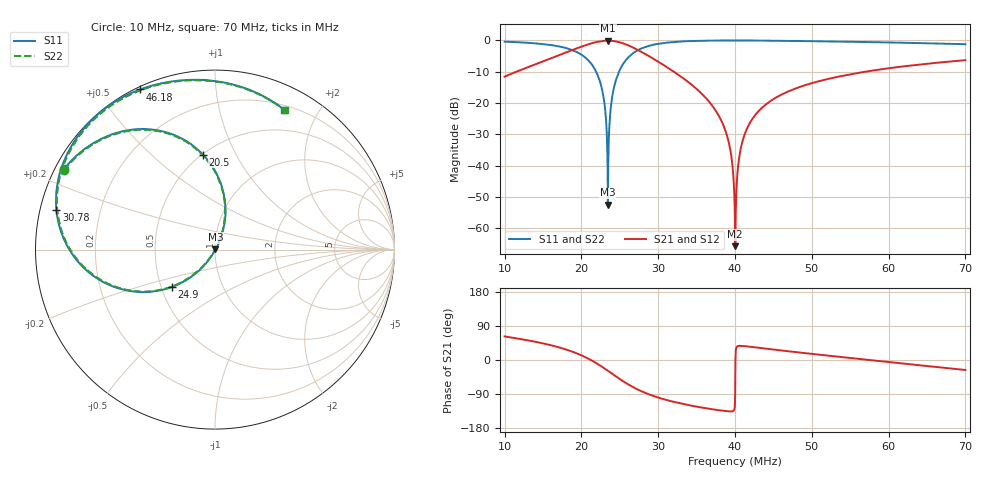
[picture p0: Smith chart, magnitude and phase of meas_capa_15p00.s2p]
#  HZ  S  RI  R  50.00
! Rohde & Schwarz ZVT8 8Ports - Version 4.11 - 1300.0000k08 SN: 100242
! Date: 2026-07-13 13:46:20
! Measurements: S11 S21 S12 S22
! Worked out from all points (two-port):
!   3001 points, 10 MHz to 70 MHz, reference 50 ohm
!   highest |S21| = -0.09 dB at 23.46 MHz (marker M1); lowest = -65.7 dB at 40.04 MHz (marker M2)
!   |S21| within 3 dB of the highest: 18.81 MHz to 27.37 MHz (8.564 MHz wide, 37.1 % of centre)
!   lowest |S11| = -52.4 dB at 23.44 MHz (marker M3), VSWR 1.00, Z = 50.2 + j0.0984 ohm
!   |S11| at or under -10 dB: 21.92 MHz to 24.9 MHz (2.978 MHz wide, 12.7 % of centre)
!   |S22| runs from -53.4 to -0.1 dB; largest |S21 - S12| = 0.0017
!   S11 on the Smith chart (normalised r, x): 10 MHz: 0.03, +0.25; 20.5 MHz: 0.50, +0.75; 24.9 MHz: 0.57, -0.26; 30.78 MHz: 0.05, +0.12; 46.18 MHz: 0.01, +0.64; 70 MHz: 0.25, +1.58
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1e7  -0.8418 0.4463  0.1234 0.2329  0.1237 0.2327  -0.8392 0.4433
1.662e7  -0.4794 0.666  0.4471 0.3229  0.4475 0.3226  -0.4793 0.6615
2e7  -0.1228 0.5793  0.7762 0.1687  0.7755 0.1685  -0.1236 0.5768
2.05e7  -0.0675 0.5294  0.8269 0.1116  0.8266 0.1113  -0.0696 0.5261
2.25e7  0.0578 0.1951  0.9333 -0.2577  0.9323 -0.257  0.0559 0.1955
2.344e7  0.00218 0.00098  0.8709 -0.4694  0.8701 -0.4695  0.00113 0.00268
2.346e7  0.000489 -0.00317  0.8688 -0.4738  0.8678 -0.4732  -0.000212 -0.00214
2.408e7  -0.0846 -0.1135  0.7776 -0.5956  0.7772 -0.5949  -0.0856 -0.111
2.49e7  -0.2389 -0.2084  0.6156 -0.7073  0.6155 -0.7065  -0.2386 -0.2051
2.742e7  -0.6922 -0.1357  0.1361 -0.6821  0.136 -0.6823  -0.6881 -0.133
3e7  -0.8705 0.1426  -0.0723 -0.4508  -0.0726 -0.4517  -0.8654 0.1432
3.078e7  -0.8836 0.2207  -0.0956 -0.387  -0.0955 -0.387  -0.8784 0.221
3.792e7  -0.7273 0.6783  -0.0417 -0.0454  -0.0417 -0.0454  -0.7208 0.6761
3.926e7  -0.6797 0.7288  -0.0153 -0.015  -0.0154 -0.015  -0.673 0.7259
4e7  -0.652 0.754  -0.000396 -0.00101  -0.000396 -0.00101  -0.6464 0.7504
4.004e7  -0.6507 0.7553  0.000423 -0.000299  0.000425 -0.000301  -0.6448 0.7517
4.07e7  -0.6264 0.7754  0.0139 0.0106  0.0139 0.0106  -0.6207 0.7716
4.162e7  -0.5918 0.8013  0.0328 0.0237  0.0329 0.0236  -0.5857 0.7975
4.618e7  -0.4155 0.8924  0.1259 0.0582  0.1257 0.0582  -0.4128 0.8881
5e7  -0.2702 0.9317  0.1991 0.058  0.1991 0.0577  -0.2681 0.9285
6e7  0.0896 0.9224  0.3573 -0.0332  0.3569 -0.0334  0.0914 0.9196
7e7  0.3855 0.7794  0.4328 -0.2144  0.433 -0.2144  0.3882 0.777
